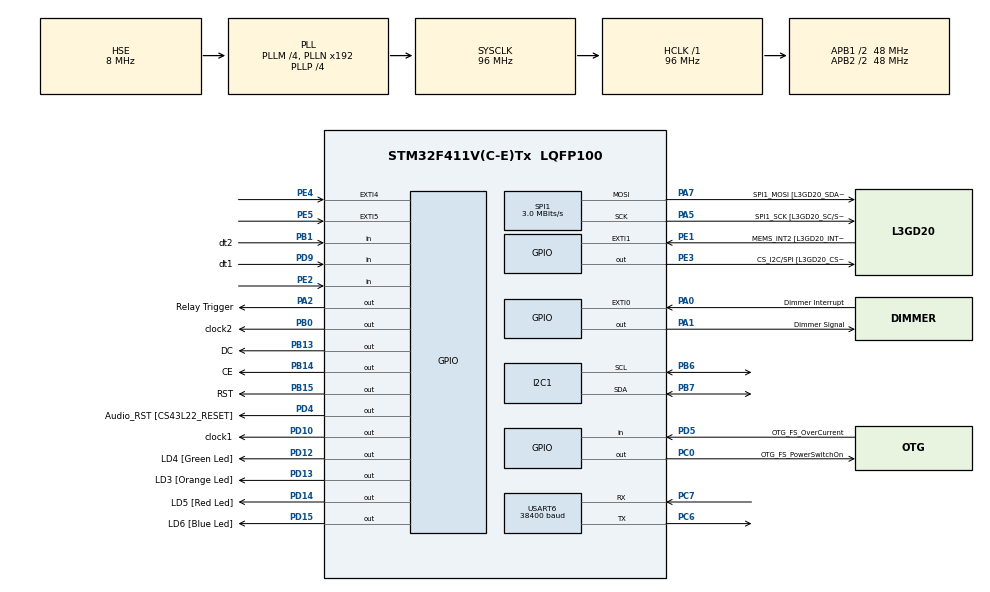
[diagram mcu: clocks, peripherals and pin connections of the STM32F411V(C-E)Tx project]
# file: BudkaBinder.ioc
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Mcu.Family=STM32F4
Mcu.Name=STM32F411V(C-E)Tx
Mcu.Package=LQFP100
NVIC.EXTI0_IRQn=true\:0\:0\:false\:false\:true\:true\:true\:true
NVIC.PriorityGroup=NVIC_PRIORITYGROUP_0
NVIC.TIM1_UP_TIM10_IRQn=true\:0\:0\:false\:false\:true\:true\:true\:true
NVIC.TIM2_IRQn=true\:0\:0\:false\:false\:true\:true\:true\:true
NVIC.USART6_IRQn=true\:0\:0\:false\:false\:true\:true\:true\:true
PA0-WKUP.GPIO_Label=Dimmer Interrupt
PA0-WKUP.GPIO_ModeDefaultEXTI=GPIO_MODE_IT_RISING_FALLING
PA0-WKUP.Signal=GPXTI0
PA1.GPIO_Label=Dimmer Signal
PA1.GPIO_PuPd=GPIO_PULLDOWN
PA1.GPIO_Speed=GPIO_SPEED_FREQ_MEDIUM
PA1.Signal=GPIO_Output
PA13.GPIO_Label=SWDIO
PA13.Mode=Serial_Wire
PA13.Signal=SYS_JTMS-SWDIO
PA14.GPIO_Label=SWCLK
PA14.Mode=Serial_Wire
PA14.Signal=SYS_JTCK-SWCLK
PA2.GPIO_Label=Relay Trigger
PA2.GPIO_PuPd=GPIO_PULLDOWN
PA2.GPIO_Speed=GPIO_SPEED_FREQ_MEDIUM
PA2.Signal=GPIO_Output
PA5.GPIO_Label=SPI1_SCK [L3GD20_SC/SPC]
PA5.Mode=TX_Only_Simplex_Unidirect_Master
PA5.Signal=SPI1_SCK
PA7.GPIO_Label=SPI1_MOSI [L3GD20_SDA/SDI/SDO]
PA7.Mode=TX_Only_Simplex_Unidirect_Master
PA7.Signal=SPI1_MOSI
PB0.GPIO_Label=clock2
PB0.Signal=GPIO_Output
PB1.GPIO_Label=dt2
PB1.Signal=GPIO_Input
PB13.GPIO_Label=DC
PB13.Signal=GPIO_Output
PB14.GPIO_Label=CE
PB14.Signal=GPIO_Output
PB15.GPIO_Label=RST
PB15.Signal=GPIO_Output
PB3.GPIO_Label=SWO
PB3.Signal=SYS_JTDO-SWO
PB6.Mode=I2C
PB6.Signal=I2C1_SCL
PB7.Mode=I2C
PB7.Signal=I2C1_SDA
PC0.GPIO_Label=OTG_FS_PowerSwitchOn
PC0.PinState=GPIO_PIN_SET
PC0.Signal=GPIO_Output
PC14-OSC32_IN.GPIO_Label=PC14-OSC32_IN
PC14-OSC32_IN.Mode=LSE-External-Oscillator
PC14-OSC32_IN.Signal=RCC_OSC32_IN
PC15-OSC32_OUT.GPIO_Label=PC15-OSC32_OUT
PC15-OSC32_OUT.Mode=LSE-External-Oscillator
PC15-OSC32_OUT.Signal=RCC_OSC32_OUT
PC6.Mode=Asynchronous
PC6.Signal=USART6_TX
PC7.Mode=Asynchronous
PC7.Signal=USART6_RX
PD10.GPIO_Label=clock1
PD10.Signal=GPIO_Output
PD12.GPIO_Label=LD4 [Green Led]
PD12.GPIO_PuPd=GPIO_NOPULL
PD12.GPIO_Speed=GPIO_SPEED_FREQ_LOW
PD12.Signal=GPIO_Output
PD13.GPIO_Label=LD3 [Orange Led]
PD13.GPIO_PuPd=GPIO_NOPULL
PD13.GPIO_Speed=GPIO_SPEED_FREQ_LOW
PD13.Signal=GPIO_Output
PD14.GPIO_Label=LD5 [Red Led]
PD14.GPIO_PuPd=GPIO_NOPULL
PD14.GPIO_Speed=GPIO_SPEED_FREQ_LOW
PD14.Signal=GPIO_Output
PD15.GPIO_Label=LD6 [Blue Led]
PD15.GPIO_PuPd=GPIO_NOPULL
PD15.GPIO_Speed=GPIO_SPEED_FREQ_LOW
PD15.Signal=GPIO_Output
PD4.GPIO_Label=Audio_RST [CS43L22_RESET]
PD4.Signal=GPIO_Output
PD5.GPIO_Label=OTG_FS_OverCurrent
PD5.Signal=GPIO_Input
PD9.GPIO_Label=dt1
PD9.Signal=GPIO_Input
PE1.GPIO_Label=MEMS_INT2 [L3GD20_INT2]
PE1.GPIO_ModeDefaultEXTI=GPIO_MODE_EVT_RISING
PE1.Signal=GPXTI1
PE2.Signal=GPIO_Input
PE3.GPIO_Label=CS_I2C/SPI [L3GD20_CS_I2C/SPI]
PE3.Signal=GPIO_Output
PE4.GPIO_ModeDefaultEXTI=GPIO_MODE_EVT_RISING
PE4.Signal=GPXTI4
PE5.GPIO_ModeDefaultEXTI=GPIO_MODE_EVT_RISING
PE5.Signal=GPXTI5
PH0\ -\ OSC_IN.GPIO_Label=PH0-OSC_IN
PH0\ -\ OSC_IN.Mode=HSE-External-Oscillator
PH0\ -\ OSC_IN.Signal=RCC_OSC_IN
PH1\ -\ OSC_OUT.GPIO_Label=PH1-OSC_OUT
PH1\ -\ OSC_OUT.Mode=HSE-External-Oscillator
PH1\ -\ OSC_OUT.Signal=RCC_OSC_OUT
ProjectManager.HeapSize=0x200
ProjectManager.StackSize=0x400
ProjectManager.TargetToolchain=STM32CubeIDE
RCC.48MHZClocksFreq_Value=48000000
RCC.AHBFreq_Value=96000000
RCC.APB1CLKDivider=RCC_HCLK_DIV2
RCC.APB1Freq_Value=48000000
RCC.APB1TimFreq_Value=96000000
RCC.APB2CLKDivider=RCC_HCLK_DIV2
RCC.APB2Freq_Value=48000000
RCC.APB2TimFreq_Value=96000000
RCC.CortexFreq_Value=96000000
RCC.HCLKFreq_Value=96000000
RCC.HSE_VALUE=8000000
RCC.HSI_VALUE=16000000
RCC.PLLI2SM=5
RCC.PLLI2SN=200
RCC.PLLM=4
RCC.PLLP=RCC_PLLP_DIV4
RCC.PLLQ=8
RCC.PLLSourceVirtual=RCC_PLLSOURCE_HSE
RCC.SYSCLKFreq_VALUE=96000000
RCC.SYSCLKSource=RCC_SYSCLKSOURCE_PLLCLK
RCC.VCOOutputFreq_Value=384000000
SPI1.BaudRatePrescaler=SPI_BAUDRATEPRESCALER_16
SPI1.CalculateBaudRate=3.0 MBits/s
SPI1.Direction=SPI_DIRECTION_2LINES
SPI1.Mode=SPI_MODE_MASTER
SPI1.VirtualType=VM_MASTER
TIM1.Prescaler=48
TIM10.Prescaler=96
TIM11.Prescaler=96
TIM2.Period=10000
TIM2.Prescaler=9600-1
USART6.BaudRate=38400
USART6.VirtualMode=VM_ASYNC
VP_TIM10_VS_ClockSourceINT.Mode=Enable_Timer
VP_TIM11_VS_ClockSourceINT.Mode=Enable_Timer
VP_TIM1_VS_ClockSourceINT.Mode=Internal
VP_TIM2_VS_ClockSourceINT.Mode=Internal
board=STM32F411E-DISCO

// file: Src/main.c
/* USER CODE BEGIN Header */
/**
  ******************************************************************************
  * @file           : main.c
  * @brief          : Main program body
  ******************************************************************************
  * @attention
  *
  * Copyright (c) 2023 STMicroelectronics.
  * All rights reserved.
  *
  * This software is licensed under terms that can be found in the LICENSE file
  * in the root directory of this software component.
  * If no LICENSE file comes with this software, it is provided AS-IS.
  *
  ******************************************************************************
  */
/* USER CODE END Header */
#include "main.h"
#include "i2c.h"
#include "spi.h"
#include "tim.h"
#include "usart.h"
#include "gpio.h"

/* USER CODE BEGIN Includes */
#include <stdbool.h>
#include "AC_Dimmer.h"
#include "lcd5110.h"
#include <stdio.h>
#include <stdlib.h>
#include <math.h>
/* USER CODE END Includes */

/* USER CODE BEGIN PD */
#define Dimmer_1 0
#define MCP9808_ADDRESS 0x18

#define successMessageSize 10
#define errorMessageSize 8
#define maxMessageSize 11
#define uResponseLineSize 8
#define sResponseLineSize 9
/* USER CODE END PD */

void SystemClock_Config(void);

/* USER CODE BEGIN 0 */
typedef enum state_t {
 CheckingWeight,
 CheckingTemperature,
 WarmingUp,
 CoolingDown
} state_t;

const uint8_t absolutePetInsideWeightThresholdLow = 2; //can not be set lower than this
const uint8_t absolutePetInsideWeightThresholdUpper = 40; //defined by characteristics of tenso sensors
const int8_t absoluteTemperatureLowBound = -15; //can not be set lower than this
const int8_t absoluteTemperatureUpperBound = 45; //can not be set lower than this

volatile uint8_t petInsideWeightThreshold = 3; //kilograms
volatile int8_t temperatureLowBound = 25; //celsius
volatile int8_t temperatureUpperBound = 35; //celsius

volatile int8_t setTemperature = 30; //celsius
volatile uint16_t temperatureStep = 5;
volatile uint16_t secondsElapsed = 0;
volatile uint16_t temperatureCheckInterval = 0; //seconds
volatile uint16_t maxVoltageValue = 256; //0 to 256
volatile uint16_t maxRugTemperature = 40; //celsius

uint8_t stateMessage[errorMessageSize] = {85, 80, 71, 79, 73, 78, 10, 13};
uint8_t successMessage[successMessageSize] = "SUCCESS!\r\n";
uint8_t errorMessage[errorMessageSize] = "ERROR!\r\n";
uint8_t receive_buff[maxMessageSize];

uint8_t lowerBoundMessage[sResponseLineSize] = {76, 87, 82, 61, 0, 0, 0, 10, 13};
uint8_t upperBoundMessage[uResponseLineSize] = {85, 80, 82, 61, 0, 0, 10, 13};
uint8_t setTempMessage[uResponseLineSize] = {84, 77, 80, 61, 0, 0, 10, 13};
uint8_t loadMessage[uResponseLineSize] = {76, 79, 68, 61, 0, 0, 10, 13};
uint8_t weightBoundMessage[uResponseLineSize] = {87, 71, 84, 61, 0, 0, 10, 13};
uint8_t presenceMessage[uResponseLineSize] = {80, 82, 83, 61, 48, 0, 10, 13};
uint8_t curTempMessage[sResponseLineSize] = {67, 85, 82, 61, 0, 0, 0, 10, 13};

uint8_t ledArrLength = 4;
uint16_t leds[4] = {GPIO_PIN_12, GPIO_PIN_13, GPIO_PIN_14, GPIO_PIN_15};

volatile int32_t currentWeight = 0;
volatile int16_t currentTemperature = 0;
volatile bool uartFlag = false;
volatile double weightExp = 0.2;
volatile uint8_t weightStabilizationIterations = 4;

volatile int32_t hx711_value = 14;
volatile int32_t hx711_value1 = 88;

const int32_t roughPlankWeight = 513;
const int16_t supportCoefficient = 2;

void TransitState(state_t newState);

void SwitchStateLEDs(uint16_t ledToEnable)
{
	for(int i = 0; i < ledArrLength; i++)
	{
		if(leds[i] == ledToEnable)
		{
			HAL_GPIO_WritePin(GPIOD, leds[i], GPIO_PIN_SET);
		}else
		{
			HAL_GPIO_WritePin(GPIOD, leds[i], GPIO_PIN_RESET);
		}
	}
}

static uint8_t GAIN;
void delay_us (uint16_t us) {
	__HAL_TIM_SET_COUNTER(&htim10, 0);
	while(__HAL_TIM_GET_COUNTER(&htim10) < us);
}
void hx711_powerUp(void) {
	HAL_GPIO_WritePin(GPIOD, GPIO_PIN_10, 0);
}
void hx711_setGain(uint8_t gain) {
	if(gain < 64) GAIN = 2;
	else if(gain < 128) GAIN = 3;
	else GAIN = 1;
}
void hx711_init(void) {
	hx711_setGain(128);
	hx711_powerUp();
}
int32_t hx711_get_value(void) {
		uint32_t data = 0;
		uint8_t dout;
		int32_t filler;
		int32_t ret_value;
		for (uint8_t i = 0; i < 24; i++) {
			HAL_GPIO_WritePin(GPIOD, GPIO_PIN_10, GPIO_PIN_SET);
			delay_us(1);
			dout = HAL_GPIO_ReadPin(GPIOD, GPIO_PIN_9);
			data = data << 1;
			if (dout) {
				data++;
			}
			HAL_GPIO_WritePin(GPIOD, GPIO_PIN_10, GPIO_PIN_RESET);
			delay_us(1);
		}
		for( int i = 0; i < GAIN; i ++ ) {
			HAL_GPIO_WritePin(GPIOD, GPIO_PIN_10, GPIO_PIN_SET);
			delay_us(1);
			HAL_GPIO_WritePin(GPIOD, GPIO_PIN_10, GPIO_PIN_RESET);
			delay_us(1);
		}
		if( data & 0x800000 )
			filler = 0xFF000000;
		else
			filler = 0x00000000;

		ret_value = filler + data;
		return ret_value;
	}
uint8_t hx711_is_ready(void) {
	return HAL_GPIO_ReadPin(GPIOD, GPIO_PIN_9) == GPIO_PIN_RESET;
}
//////////////////////////////////////////////////////////////////////
static uint8_t GAIN1;
void delay_us1(uint16_t us) {
	__HAL_TIM_SET_COUNTER(&htim11, 0);
	while(__HAL_TIM_GET_COUNTER(&htim11) < us);
}
void hx711_powerUp1(void) {
	HAL_GPIO_WritePin(GPIOB, GPIO_PIN_0, 0);
}
void hx711_setGain1(uint8_t gain) {
	if(gain < 64) GAIN1 = 2;
	else if(gain < 128) GAIN1 = 3;
	else GAIN1 = 1;
}
void hx711_init1(void) {
	hx711_setGain1(128);
	hx711_powerUp1();
}
int32_t hx711_get_value1(void) {
		uint32_t data = 0;
		uint8_t dout;
		int32_t filler;
		int32_t ret_value;
		for (uint8_t i = 0; i < 24; i++) {
			HAL_GPIO_WritePin(GPIOB, GPIO_PIN_0, GPIO_PIN_SET);
			delay_us1(1);
			dout = HAL_GPIO_ReadPin(GPIOB, GPIO_PIN_1);
			data = data << 1;
			if (dout) {
				data++;
			}
			HAL_GPIO_WritePin(GPIOB, GPIO_PIN_0, GPIO_PIN_RESET);
			delay_us1(1);
		}
		for( int i = 0; i < GAIN1; i ++ ) {
			HAL_GPIO_WritePin(GPIOB, GPIO_PIN_0, GPIO_PIN_SET);
			delay_us1(1);
			HAL_GPIO_WritePin(GPIOB, GPIO_PIN_0, GPIO_PIN_RESET);
			delay_us1(1);
		}
		if( data & 0x800000 )
			filler = 0xFF000000;
		else
			filler = 0x00000000;

		ret_value = filler + data;
		return ret_value;
	}
uint8_t hx711_is_ready1(void) {
	return HAL_GPIO_ReadPin(GPIOB, GPIO_PIN_1) == GPIO_PIN_RESET;
}
int32_t GetCurrentWeight()
{
	int32_t weight = 0;
	hx711_value = hx711_get_value();

	hx711_value1 = hx711_get_value1();

	weight = (hx711_value + hx711_value1);

	weight /= 1000;

	weight = roughPlankWeight >= weight ? 0 : weight;

	weight = ceil(pow((double) weight, weightExp));
	return weight;
}

void WEIGHT_init()
{
    hx711_init();
    hx711_init1();
}

int16_t GetCurrentTemperature()
{
	uint8_t buffer[2];
	HAL_I2C_Mem_Read(&hi2c1, MCP9808_ADDRESS << 1, 0x05, 1, buffer, 2, HAL_MAX_DELAY);

	int16_t temperature = ((buffer[0] << 8) | buffer[1]) & 0xFFF;
	float temp_celsius = (float)temperature / 16.0;

	int16_t convTemp = (int16_t) temp_celsius;

	return convTemp;
}

bool SetCurrentTemperature(uint8_t newTemperature)
{
	if(newTemperature > temperatureUpperBound || newTemperature < temperatureLowBound){return false;}
	setTemperature = newTemperature;

	Dimm_value(Dimmer_1, (setTemperature * maxVoltageValue) / maxRugTemperature);
	return true;

}

bool SetTemperatureLowerBound(uint8_t newBound)
{
	if(newBound < absoluteTemperatureLowBound || newBound >= temperatureUpperBound){return false;}

	temperatureLowBound = newBound;
	return true;
}

bool SetTemperatureUpperBound(uint8_t newBound)
{
	if(newBound > absoluteTemperatureUpperBound || newBound <= temperatureLowBound){return false;}

	temperatureUpperBound = newBound;
	return true;
}

bool SetWeightThreshold(uint8_t newThreshold)
{
	if(newThreshold > absolutePetInsideWeightThresholdUpper || newThreshold < absolutePetInsideWeightThresholdLow){return false;}

	petInsideWeightThreshold = newThreshold;
	return 1;
}

void WeightCheckingRoutine()
{
	if(GetCurrentWeight() < petInsideWeightThreshold){return;}

	TransitState(CheckingTemperature);
}

void SwitchTemperatureRelay(uint8_t relayValue)
{
	HAL_GPIO_WritePin(GPIOA, GPIO_PIN_2, relayValue);
}

bool PetLeft()
{
	return (GetCurrentWeight() < petInsideWeightThreshold);
}

void TemperatureCheckingRoutine()
{
	if(PetLeft())
	{
		TransitState(CheckingWeight);
		return;
	}

	if(currentTemperature < temperatureLowBound)
	{
		TransitState(WarmingUp);
	} else if(currentTemperature > temperatureUpperBound)
	{
		TransitState(CoolingDown);
	}
}

void WarmingUpRoutine()
{
	if(PetLeft())
	{
		TransitState(CheckingWeight);
	}
}

void CoolingDownRoutine()
{
	if(PetLeft())
	{
		TransitState(CheckingWeight);
	}
}

volatile state_t budkaState;

void (*stateFunction)(void) = WeightCheckingRoutine;

void TransitState(state_t newState)
{
	switch(newState)
	{
		case CheckingWeight:
			SwitchTemperatureRelay(1);
			budkaState = CheckingWeight;
			stateFunction = WeightCheckingRoutine;
			SwitchStateLEDs(GPIO_PIN_12);
			break;
		case CheckingTemperature:
			SwitchTemperatureRelay(0);
			budkaState = CheckingTemperature;
			stateFunction = TemperatureCheckingRoutine;
			SwitchStateLEDs(GPIO_PIN_13);
			break;
		case WarmingUp:
			secondsElapsed = 0;
			budkaState = WarmingUp;
			stateFunction = WarmingUpRoutine;
			SwitchStateLEDs(GPIO_PIN_14);
			break;
		case CoolingDown:
			secondsElapsed = 0;
			budkaState = CoolingDown;
			stateFunction = CoolingDownRoutine;
			SwitchStateLEDs(GPIO_PIN_15);
			break;
	}
}
int8_t InterpretNumberFromBuffer()
{
	int8_t multiplier = 1;
	int8_t result = 0;

	if(receive_buff[8] == '-')
	{
		multiplier = -1;
	} else if(receive_buff[8] != '+')
	{
		return -127;
	}

	if(receive_buff[9] > '9' || receive_buff[10] > '9' || receive_buff[9] < '0' || receive_buff[10] < '0' ){return -127;}

	result += (receive_buff[9]-'0') * 10;
	result += receive_buff[10] - '0';
	result *= multiplier;

	return result;
}

bool ProcessUserQuery()
{
	if(receive_buff[0] == 'G' && receive_buff[1] == 'E' && receive_buff[2] == 'T')
	{
		lowerBoundMessage[sResponseLineSize - 3] = abs(temperatureLowBound)%10 + '0';
		lowerBoundMessage[sResponseLineSize - 4] = abs(temperatureLowBound)/10 + '0';
		lowerBoundMessage[sResponseLineSize - 5] = temperatureLowBound > 0? '+' : '-';
		HAL_UART_Transmit(&huart6, lowerBoundMessage, sResponseLineSize, 10);

		upperBoundMessage[uResponseLineSize - 3] = temperatureUpperBound%10 + '0';
		upperBoundMessage[uResponseLineSize - 4] = temperatureUpperBound/10 + '0';
		HAL_UART_Transmit(&huart6, upperBoundMessage, uResponseLineSize, 10);

		setTempMessage[uResponseLineSize - 3] = setTemperature%10 + '0';
		setTempMessage[uResponseLineSize - 4] = setTemperature/10 + '0';
		HAL_UART_Transmit(&huart6, setTempMessage, uResponseLineSize, 10);

		curTempMessage[sResponseLineSize - 3] = abs(currentTemperature)%10 + '0';
		curTempMessage[sResponseLineSize - 4] = abs(currentTemperature)/10 + '0';
		curTempMessage[sResponseLineSize - 5] = currentTemperature > 0? '+' : '-';
		HAL_UART_Transmit(&huart6, curTempMessage, sResponseLineSize, 10);

		loadMessage[uResponseLineSize - 3] = abs(currentWeight)%10 + '0';
		loadMessage[uResponseLineSize - 4] = abs(currentWeight) / 10 + '0';
		HAL_UART_Transmit(&huart6, loadMessage, uResponseLineSize, 10);

		weightBoundMessage[uResponseLineSize - 3] = petInsideWeightThreshold%10 + '0';
		weightBoundMessage[uResponseLineSize - 4] = petInsideWeightThreshold/10 + '0';
		HAL_UART_Transmit(&huart6, weightBoundMessage, uResponseLineSize, 10);

		presenceMessage[uResponseLineSize - 3] = (currentWeight > petInsideWeightThreshold) + '0';
		HAL_UART_Transmit(&huart6, presenceMessage, uResponseLineSize, 10);

		return true;
	} else if(receive_buff[0] == 'S' && receive_buff[1] == 'E' && receive_buff[2] == 'T' && receive_buff[3] == '+' && receive_buff[7] == '=')
	{
		int8_t valueToSet =  InterpretNumberFromBuffer();
		if(valueToSet == -127)
		{
			return false;
		}

		if(receive_buff[4] == 'L' && receive_buff[5] == 'W' && receive_buff[6] == 'R')
		{
			return SetTemperatureLowerBound(valueToSet);
		} else if(receive_buff[4] == 'U' && receive_buff[5] == 'P' && receive_buff[6] == 'R')
		{
			return SetTemperatureUpperBound(valueToSet);
		}else if(receive_buff[4] == 'W' && receive_buff[5] == 'G' && receive_buff[6] == 'T')
		{
			return SetWeightThreshold(valueToSet);
		} else if(receive_buff[4] == 'T' && receive_buff[5] == 'M' && receive_buff[6] == 'P')
		{
			return SetCurrentTemperature(valueToSet);
		}
	}
	return false;
}

/* USER CODE END 0 */

int main(void)
{
  /* USER CODE BEGIN 1 */
	Dimmer_init_begin();
	Dimmer_pin_assign(Dimmer_1, GPIO_PIN_1);
	Dimmer_init_end();
  /* USER CODE END 1 */

  /* MCU Configuration--------------------------------------------------------*/

  /* Reset of all peripherals, Initializes the Flash interface and the Systick. */
  HAL_Init();

  /* Configure the system clock */
  SystemClock_Config();

  /* Initialize all configured peripherals */
  MX_GPIO_Init();
  MX_TIM2_Init();
  MX_TIM1_Init();
  MX_I2C1_Init();
  MX_TIM10_Init();
  MX_SPI1_Init();
  MX_TIM11_Init();
  MX_USART6_UART_Init();

  /* USER CODE BEGIN 2 */
  	//LCD_init();
	HAL_TIM_Base_Start_IT(&htim2);
	HAL_TIM_Base_Start_IT(&htim1);
    HAL_TIM_Base_Start(&htim10);
    HAL_TIM_Base_Start(&htim11);
    HAL_UART_Receive_IT(&huart6, receive_buff, maxMessageSize);

    WEIGHT_init();
    HAL_GPIO_WritePin(GPIOA, GPIO_PIN_2, 1);
    SetCurrentTemperature(setTemperature);
    TransitState(CheckingWeight);
	//LCD5110_refresh(&lcd1);
  /* USER CODE END 2 */

  /* Infinite loop */
  /* USER CODE BEGIN WHILE */
  while (1)
  {
	  if(uartFlag)
	  {
		  __disable_irq();
		  currentTemperature = GetCurrentTemperature();
		  currentWeight = GetCurrentWeight();

			if(ProcessUserQuery())
			{
				HAL_UART_Transmit(&huart6, successMessage, successMessageSize, 10);
			} else
			{
				HAL_UART_Transmit(&huart6, errorMessage, errorMessageSize, 10);
			}

			uartFlag = false;
			__enable_irq();

			MX_USART6_UART_Init();
		    HAL_UART_Receive_IT(&huart6, receive_buff, maxMessageSize);
	  }
	  stateFunction();
	  HAL_Delay(100);
    /* USER CODE END WHILE */

  }
}

void SystemClock_Config(void)
{
  RCC_OscInitTypeDef RCC_OscInitStruct = {0};
  RCC_ClkInitTypeDef RCC_ClkInitStruct = {0};

  /** Configure the main internal regulator output voltage
  */
  __HAL_RCC_PWR_CLK_ENABLE();
  __HAL_PWR_VOLTAGESCALING_CONFIG(PWR_REGULATOR_VOLTAGE_SCALE1);

  /** Initializes the RCC Oscillators according to the specified parameters
  * in the RCC_OscInitTypeDef structure.
  */
  RCC_OscInitStruct.OscillatorType = RCC_OSCILLATORTYPE_HSE;
  RCC_OscInitStruct.HSEState = RCC_HSE_ON;
  RCC_OscInitStruct.PLL.PLLState = RCC_PLL_ON;
  RCC_OscInitStruct.PLL.PLLSource = RCC_PLLSOURCE_HSE;
  RCC_OscInitStruct.PLL.PLLM = 4;
  RCC_OscInitStruct.PLL.PLLN = 192;
  RCC_OscInitStruct.PLL.PLLP = RCC_PLLP_DIV4;
  RCC_OscInitStruct.PLL.PLLQ = 8;
  if (HAL_RCC_OscConfig(&RCC_OscInitStruct) != HAL_OK)
  {
    Error_Handler();
  }

  /** Initializes the CPU, AHB and APB buses clocks
  */
  RCC_ClkInitStruct.ClockType = RCC_CLOCKTYPE_HCLK|RCC_CLOCKTYPE_SYSCLK
                              |RCC_CLOCKTYPE_PCLK1|RCC_CLOCKTYPE_PCLK2;
  RCC_ClkInitStruct.SYSCLKSource = RCC_SYSCLKSOURCE_PLLCLK;
  RCC_ClkInitStruct.AHBCLKDivider = RCC_SYSCLK_DIV1;
  RCC_ClkInitStruct.APB1CLKDivider = RCC_HCLK_DIV2;
  RCC_ClkInitStruct.APB2CLKDivider = RCC_HCLK_DIV2;

  if (HAL_RCC_ClockConfig(&RCC_ClkInitStruct, FLASH_LATENCY_3) != HAL_OK)
  {
    Error_Handler();
  }
}

/* USER CODE BEGIN 4 */
void HAL_TIM_PeriodElapsedCallback(TIM_HandleTypeDef *htim)
{
	if(htim->Instance == TIM2)
	{
		 HAL_UART_Transmit(&huart6, stateMessage, errorMessageSize, 10);
		secondsElapsed++;
		if(secondsElapsed < temperatureCheckInterval){return;}

		if(budkaState == WarmingUp)
		{
			if(currentTemperature < temperatureLowBound)
			{
				SetCurrentTemperature(setTemperature + temperatureStep);
			}else
			{
				TransitState(CheckingTemperature);
			}
		}else if(budkaState == CoolingDown)
		{
			if(currentTemperature > temperatureUpperBound)
			{
				SetCurrentTemperature(setTemperature - temperatureStep);
			}else
			{
				TransitState(CheckingTemperature);
			}
		}
	}else if(htim->Instance == TIM1)
	{
		HandleTimerInterrupt();
	}
}
void HAL_GPIO_EXTI_Callback(uint16_t GPIO_Pin)
{
	if(GPIO_Pin == GPIO_PIN_0)
	{
		HandleDimmerInterrupt();
	}
}

/**
  * @brief  Returns -127 if interpretation results in failure
  */

void HAL_UART_RxCpltCallback(UART_HandleTypeDef *huart)
{
	uartFlag = true;

  HAL_UART_Receive_IT(&huart6, receive_buff, maxMessageSize);
  //HAL_UART_Receive_IT(&huart1, receive_buff, 1);
}
/* USER CODE END 4 */

void Error_Handler(void)
{
  __disable_irq();
  while (1)
  {
  }
}
